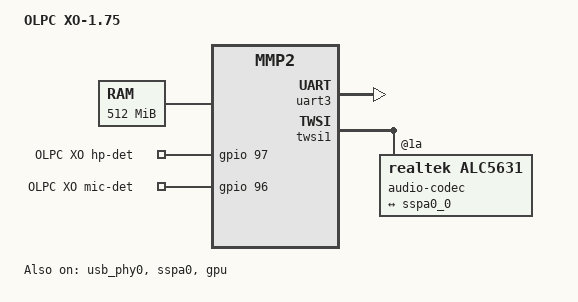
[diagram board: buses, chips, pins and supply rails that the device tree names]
// SPDX-License-Identifier: GPL-2.0-or-later OR MIT
/*
 * OLPC XO-1.75 Laptop.
 *
 * Copyright (C) 2018,2019,2021 Lubomir Rintel <lkundrak@v3.sk>
 */

/dts-v1/;
#include "mmp2.dtsi"
#include "olpc-xo.dtsi"

/ {
	model = "OLPC XO-1.75";
	compatible = "olpc,xo-1.75", "mrvl,mmp2";

	memory {
		linux,usable-memory = <0x0 0x1f800000>;
		available = <0xcf000 0x1ef31000 0x1000 0xbf000>;
		reg = <0x0 0x20000000>;
	};

	chosen {
		framebuffer@1fc00000 {
			compatible = "simple-framebuffer";
			reg = <0x1fc00000 (1200 * 900 * 2)>;
			width = <1200>;
			height = <900>;
			stride = <(1200 * 2)>;
			format = "r5g6b5";
			clocks = <&soc_clocks MMP2_CLK_DISP0_LCDC>,
				 <&soc_clocks MMP2_CLK_DISP0>;
		};
	};

	sound-card {
		compatible = "audio-graph-card";
		label = "OLPC XO";
		dais = <&sspa0_dai>;
		routing = "Headphones", "HPOL",
			  "Headphones", "HPOR",
			  "MIC2", "Mic Jack";
		widgets = "Headphone", "Headphones", "Microphone", "Mic Jack";
		hp-det-gpio = <&gpio 97 GPIO_ACTIVE_HIGH>;
		mic-det-gpio = <&gpio 96 GPIO_ACTIVE_HIGH>;
	};
};

&uart3 {
	status = "okay";
};

&usb_phy0 {
	status = "okay";
};

&twsi1 {
	audio-codec@1a {
		compatible = "realtek,alc5631";
		reg = <0x1a>;
		status = "okay";

		port {
			rt5631_0: endpoint {
				mclk-fs = <256>;
				clocks = <&audio_clk 0>;
				remote-endpoint = <&sspa0_0>;
			};
		};
	};
};

&asram {
	status = "okay";
};

&adma0 {
	status = "okay";
};

&audio_clk {
	status = "okay";
};

&sspa0 {
	status = "okay";
	dmas = <&adma0 0>, <&adma0 1>;
	dma-names = "tx", "rx";

	sspa0_dai: port {
		sspa0_0: endpoint {
			remote-endpoint = <&rt5631_0>;
			frame-master;
			bitclock-master;
			dai-format = "i2s";
		};
	};
};

&gpu {
	status = "okay";
};
